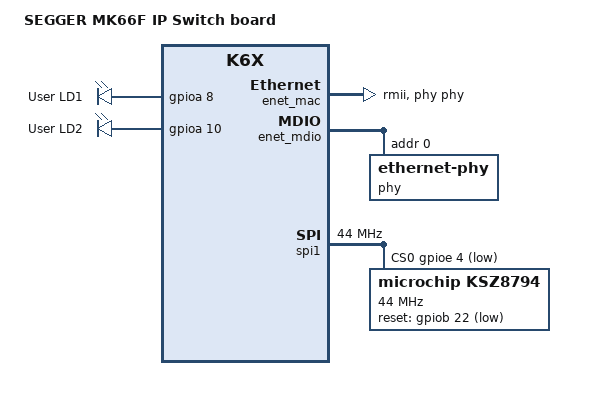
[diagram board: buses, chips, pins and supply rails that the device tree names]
/*
 * Copyright (c) 2020 DENX Software Engineering GmbH
 *
 * SPDX-License-Identifier: Apache-2.0
 */

/dts-v1/;

#include <nxp/nxp_k66.dtsi>

#include "ip_k66f-pinctrl.dtsi"

/ {
	model = "SEGGER MK66F IP Switch board";
	compatible = "nxp,mk66f18", "nxp,k66f", "nxp,k6x";

	aliases {
		led0 = &red0_led;
		led2 = &red2_led;
		dsa-spi = &spi1;
	};

	chosen {
		zephyr,sram = &sram0;
		zephyr,flash = &flash0;
		zephyr,code-partition = &slot0_partition;
	};

	leds {
		compatible = "gpio-leds";

		red0_led: led_0 {
			gpios = <&gpioa 8 GPIO_ACTIVE_HIGH>;
			label = "User LD1";
		};

		red2_led: led_2 {
			gpios = <&gpioa 10 GPIO_ACTIVE_HIGH>;
			label = "User LD2";
		};
	};
};

&cpu0 {
	clock-frequency = <120000000>;
};

&sim {
	pllfll-select = <KINETIS_SIM_PLLFLLSEL_MCGPLLCLK>;
	er32k-select = <KINETIS_SIM_ER32KSEL_RTC>;

	bus_clk {
		clock-div = <3>;
	};

	flash_clk {
		clock-div = <7>;
	};
};

&gpioa {
	status = "okay";
};

&gpiob {
	status = "okay";
};

&flash0 {
	partitions {
		compatible = "fixed-partitions";
		#address-cells = <1>;
		#size-cells = <1>;

		boot_partition: partition@0 {
			label = "mcuboot";
			reg = <0x00000000 0x00010000>;
			read-only;
		};

		/*
		 * The flash starting at 0x00010000 and ending at
		 * 0x0001ffff (sectors 16-31) is reserved for use
		 * by the application.
		 */
		storage_partition: partition@1e000 {
			label = "storage";
			reg = <0x0001e000 0x00002000>;
		};

		slot0_partition: partition@20000 {
			label = "image-0";
			reg = <0x00020000 0x00060000>;
		};

		slot1_partition: partition@80000 {
			label = "image-1";
			reg = <0x00080000 0x00060000>;
		};

		scratch_partition: partition@e0000 {
			label = "image-scratch";
			reg = <0x000e0000 0x00020000>;
		};
	};
};

&enet_mac {
	status = "okay";
	pinctrl-0 = <&enet_default>;
	pinctrl-names = "default";
	zephyr,random-mac-address;
	phy-connection-type = "rmii";
	phy-handle = <&phy>;
};

&enet_mdio {
	status = "okay";
	pinctrl-0 = <&enet_default>;
	pinctrl-names = "default";

	phy: phy@0 {
		compatible = "ethernet-phy";
		reg = <0>;
		status = "okay";
		fixed-link = "100BASE-T Full-Duplex";
	};
};

&spi1 {
	status = "okay";
	pinctrl-0 = <&spi1_default>;
	pinctrl-names = "default";

	clock-frequency = <44000000>;
	cs-gpios = <&gpioe 4 GPIO_ACTIVE_LOW>;

	ksz8794: dsa@0 {
		compatible = "microchip,ksz8794";
		reg = <0>;

		spi-max-frequency = <44000000>;
		reset-gpios = <&gpiob 22 GPIO_ACTIVE_LOW>;

		spi-cpol;
		spi-cpha;
		dsa-master-port = <&enet_mac>;
		dsa-slave-ports = <3>;

		lan3: lan_3 {};

		lan2: lan_2 {};

		lan1: lan_1 {};
	};
};

&gpioa {
	status = "okay";
};

&gpiob {
	status = "okay";
};

&gpioe {
	status = "okay";
};
